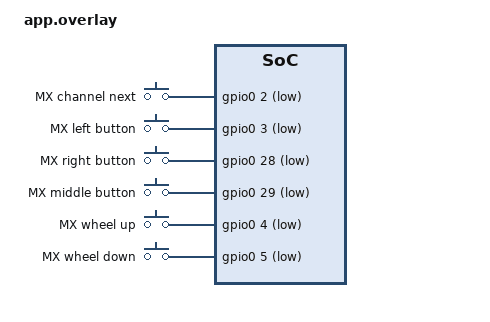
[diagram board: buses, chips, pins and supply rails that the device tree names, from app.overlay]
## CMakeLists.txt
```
cmake_minimum_required(VERSION 3.20.0)

find_package(Zephyr REQUIRED HINTS $ENV{ZEPHYR_BASE})
project(mx_master_three_channels)

target_sources(app PRIVATE
  src/main.c
  src/hog_mouse.c
)
```

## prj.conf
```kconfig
# Core
CONFIG_MAIN_STACK_SIZE=2048
CONFIG_SYSTEM_WORKQUEUE_STACK_SIZE=2048
CONFIG_PRINTK=y
CONFIG_GPIO=y

# Bluetooth peripheral HID mouse
CONFIG_BT=y
CONFIG_BT_PERIPHERAL=y
CONFIG_BT_SMP=y
CONFIG_BT_BONDABLE=y
CONFIG_BT_MAX_CONN=1
CONFIG_BT_ID_MAX=3
CONFIG_BT_MAX_PAIRED=9
CONFIG_BT_DEVICE_NAME="MX Master CH1"
CONFIG_BT_DEVICE_NAME_DYNAMIC=y
CONFIG_BT_DEVICE_NAME_MAX=24
CONFIG_BT_SMP_APP_PAIRING_ACCEPT=y
CONFIG_BT_SECURITY_ERR_TO_STR=y
CONFIG_BT_SMP_ERR_TO_STR=y

# Persist three identities, bonds, CCC subscriptions, IRKs, etc.
CONFIG_FLASH=y
CONFIG_FLASH_MAP=y
CONFIG_FLASH_PAGE_LAYOUT=y
CONFIG_NVS=y
CONFIG_SETTINGS=y
CONFIG_SETTINGS_NVS=y
CONFIG_BT_SETTINGS=y

# Optional interactive control: mx status/channel/next/move/click/unpair
CONFIG_SHELL=y
CONFIG_SHELL_BACKEND_SERIAL=y

# Keep diagnostics simple on small boards.
CONFIG_LOG=n
```

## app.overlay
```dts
/*
 * XIAO nRF52840 / nRF52840 Plus test wiring.
 * All buttons are active-low: connect the selected XIAO pin to GND.
 * Adjust the GPIO numbers here if your Plus board package maps D pins differently.
 */
/ {
	aliases {
		mx-next = &mx_next_button;
		mx-left = &mx_left_button;
		mx-right = &mx_right_button;
		mx-middle = &mx_middle_button;
		mx-wheel-up = &mx_wheel_up_button;
		mx-wheel-down = &mx_wheel_down_button;
	};

	mx_buttons: mx_buttons {
		compatible = "gpio-keys";

		mx_next_button: mx_next_button {
			label = "MX channel next";
			gpios = <&gpio0 2 (GPIO_PULL_UP | GPIO_ACTIVE_LOW)>;  /* XIAO D0 */
		};

		mx_left_button: mx_left_button {
			label = "MX left button";
			gpios = <&gpio0 3 (GPIO_PULL_UP | GPIO_ACTIVE_LOW)>;  /* XIAO D1 */
		};

		mx_right_button: mx_right_button {
			label = "MX right button";
			gpios = <&gpio0 28 (GPIO_PULL_UP | GPIO_ACTIVE_LOW)>; /* XIAO D2 */
		};

		mx_middle_button: mx_middle_button {
			label = "MX middle button";
			gpios = <&gpio0 29 (GPIO_PULL_UP | GPIO_ACTIVE_LOW)>; /* XIAO D3 */
		};

		mx_wheel_up_button: mx_wheel_up_button {
			label = "MX wheel up";
			gpios = <&gpio0 4 (GPIO_PULL_UP | GPIO_ACTIVE_LOW)>;  /* XIAO D4 */
		};

		mx_wheel_down_button: mx_wheel_down_button {
			label = "MX wheel down";
			gpios = <&gpio0 5 (GPIO_PULL_UP | GPIO_ACTIVE_LOW)>;  /* XIAO D5 */
		};
	};
};
```

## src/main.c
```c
#include <errno.h>
#include <stdbool.h>
#include <stddef.h>
#include <stdint.h>
#include <stdlib.h>
#include <string.h>

#include <zephyr/bluetooth/addr.h>
#include <zephyr/bluetooth/bluetooth.h>
#include <zephyr/bluetooth/conn.h>
#include <zephyr/bluetooth/hci.h>
#include <zephyr/bluetooth/uuid.h>
#include <zephyr/devicetree.h>
#include <zephyr/drivers/gpio.h>
#include <zephyr/kernel.h>
#include <zephyr/settings/settings.h>
#include <zephyr/shell/shell.h>
#include <zephyr/sys/atomic.h>
#include <zephyr/sys/printk.h>
#include <zephyr/sys/util.h>

#include "hog_mouse.h"

#define CHANNEL_COUNT 3U
#define INPUT_POLL_MS 12
#define RECONNECT_ADV_DELAY_MS 150

BUILD_ASSERT(CONFIG_BT_ID_MAX >= CHANNEL_COUNT,
	     "CONFIG_BT_ID_MAX must be at least 3 for three mouse channels");

struct mouse_channel {
	uint8_t id;
	const char *name;
};

static struct mouse_channel channels[CHANNEL_COUNT] = {
	{ .id = BT_ID_DEFAULT, .name = "MX Master CH1" },
	{ .id = BT_ID_DEFAULT, .name = "MX Master CH2" },
	{ .id = BT_ID_DEFAULT, .name = "MX Master CH3" },
};

static uint8_t active_channel;
static struct bt_conn *active_conn;
static uint8_t latched_buttons;

static K_MUTEX_DEFINE(state_lock);
static atomic_t bt_ready;

static void advertise_work_handler(struct k_work *work);
static K_WORK_DELAYABLE_DEFINE(advertise_work, advertise_work_handler);

static const struct bt_data ad[] = {
	BT_DATA_BYTES(BT_DATA_FLAGS, (BT_LE_AD_GENERAL | BT_LE_AD_NO_BREDR)),
	BT_DATA_BYTES(BT_DATA_UUID16_ALL, BT_UUID_16_ENCODE(BT_UUID_HIDS_VAL)),
	BT_DATA_BYTES(BT_DATA_GAP_APPEARANCE, 0xC2, 0x03), /* HID Mouse: 0x03c2 */
};

#define MX_NEXT_NODE DT_ALIAS(mx_next)
#if DT_NODE_HAS_STATUS_OKAY(MX_NEXT_NODE)
static const struct gpio_dt_spec mx_next_button = GPIO_DT_SPEC_GET(MX_NEXT_NODE, gpios);
#define HAS_MX_NEXT_BUTTON 1
#else
#define HAS_MX_NEXT_BUTTON 0
#endif

#define MX_LEFT_NODE DT_ALIAS(mx_left)
#if DT_NODE_HAS_STATUS_OKAY(MX_LEFT_NODE)
static const struct gpio_dt_spec mx_left_button = GPIO_DT_SPEC_GET(MX_LEFT_NODE, gpios);
#define HAS_MX_LEFT_BUTTON 1
#else
#define HAS_MX_LEFT_BUTTON 0
#endif

#define MX_RIGHT_NODE DT_ALIAS(mx_right)
#if DT_NODE_HAS_STATUS_OKAY(MX_RIGHT_NODE)
static const struct gpio_dt_spec mx_right_button = GPIO_DT_SPEC_GET(MX_RIGHT_NODE, gpios);
#define HAS_MX_RIGHT_BUTTON 1
#else
#define HAS_MX_RIGHT_BUTTON 0
#endif

#define MX_MIDDLE_NODE DT_ALIAS(mx_middle)
#if DT_NODE_HAS_STATUS_OKAY(MX_MIDDLE_NODE)
static const struct gpio_dt_spec mx_middle_button = GPIO_DT_SPEC_GET(MX_MIDDLE_NODE, gpios);
#define HAS_MX_MIDDLE_BUTTON 1
#else
#define HAS_MX_MIDDLE_BUTTON 0
#endif

#define MX_WHEEL_UP_NODE DT_ALIAS(mx_wheel_up)
#if DT_NODE_HAS_STATUS_OKAY(MX_WHEEL_UP_NODE)
static const struct gpio_dt_spec mx_wheel_up_button = GPIO_DT_SPEC_GET(MX_WHEEL_UP_NODE, gpios);
#define HAS_MX_WHEEL_UP_BUTTON 1
#else
#define HAS_MX_WHEEL_UP_BUTTON 0
#endif

#define MX_WHEEL_DOWN_NODE DT_ALIAS(mx_wheel_down)
#if DT_NODE_HAS_STATUS_OKAY(MX_WHEEL_DOWN_NODE)
static const struct gpio_dt_spec mx_wheel_down_button = GPIO_DT_SPEC_GET(MX_WHEEL_DOWN_NODE, gpios);
#define HAS_MX_WHEEL_DOWN_BUTTON 1
#else
#define HAS_MX_WHEEL_DOWN_BUTTON 0
#endif

static void schedule_advertising(k_timeout_t delay)
{
	if (atomic_get(&bt_ready)) {
		(void)k_work_schedule(&advertise_work, delay);
	}
}

static int channel_from_id(uint8_t id)
{
	for (uint8_t i = 0; i < CHANNEL_COUNT; i++) {
		if (channels[i].id == id) {
			return i;
		}
	}

	return -ENOENT;
}

static bool parse_channel_arg(const char *arg, uint8_t *channel)
{
	char *end = NULL;
	long value = strtol(arg, &end, 10);

	if (end == arg || *end != '\0' || value < 1 || value > CHANNEL_COUNT) {
		return false;
	}

	*channel = (uint8_t)(value - 1);
	return true;
}

static int8_t clamp_hid_axis(long value)
{
	if (value > INT8_MAX) {
		return INT8_MAX;
	}

	if (value < INT8_MIN) {
		return INT8_MIN;
	}

	return (int8_t)value;
}

static struct bt_conn *get_active_conn_ref(void)
{
	struct bt_conn *conn = NULL;

	k_mutex_lock(&state_lock, K_FOREVER);
	if (active_conn != NULL) {
		conn = bt_conn_ref(active_conn);
	}
	k_mutex_unlock(&state_lock);

	return conn;
}

static void send_mouse_report(uint8_t buttons, int8_t x, int8_t y,
			      int8_t wheel, int8_t pan)
{
	struct bt_conn *conn = get_active_conn_ref();

	if (conn == NULL) {
		return;
	}

	int err = hog_mouse_send(conn, buttons, x, y, wheel, pan);

	if (err != 0 && err != -ENOTCONN && err != -EACCES && err != -EINVAL) {
		printk("HID notify failed: %d\n", err);
	}

	bt_conn_unref(conn);
}

static void disconnect_active_conn(uint8_t reason)
{
	struct bt_conn *conn = get_active_conn_ref();

	if (conn == NULL) {
		return;
	}

	int err = bt_conn_disconnect(conn, reason);

	if (err != 0 && err != -ENOTCONN) {
		printk("Disconnect failed: %d\n", err);
	}

	bt_conn_unref(conn);
}

static int select_channel(uint8_t channel)
{
	if (channel >= CHANNEL_COUNT) {
		return -EINVAL;
	}

	uint8_t old_channel;
	bool changed;
	bool had_connection;

	k_mutex_lock(&state_lock, K_FOREVER);
	old_channel = active_channel;
	changed = (active_channel != channel);
	active_channel = channel;
	had_connection = (active_conn != NULL);
	k_mutex_unlock(&state_lock);

	if (!changed) {
		printk("Already on channel %u (%s)\n", channel + 1,
		       channels[channel].name);
		return 0;
	}

	printk("Switch channel %u -> %u (%s)\n", old_channel + 1,
	       channel + 1, channels[channel].name);

	latched_buttons = 0;
	hog_mouse_release_local_state();
	(void)bt_le_adv_stop();

	if (had_connection) {
		disconnect_active_conn(BT_HCI_ERR_REMOTE_USER_TERM_CONN);
	} else {
		schedule_advertising(K_NO_WAIT);
	}

	return 0;
}

static int select_next_channel(void)
{
	uint8_t next;

	k_mutex_lock(&state_lock, K_FOREVER);
	next = (active_channel + 1U) % CHANNEL_COUNT;
	k_mutex_unlock(&state_lock);

	return select_channel(next);
}

static void advertise_work_handler(struct k_work *work)
{
	ARG_UNUSED(work);

	if (!atomic_get(&bt_ready)) {
		return;
	}

	uint8_t channel;
	uint8_t id;
	const char *name;
	bool connected;

	k_mutex_lock(&state_lock, K_FOREVER);
	channel = active_channel;
	id = channels[channel].id;
	name = channels[channel].name;
	connected = (active_conn != NULL);
	k_mutex_unlock(&state_lock);

	if (connected) {
		return;
	}

	(void)bt_le_adv_stop();

	int err = bt_set_name(name);

	if (err != 0) {
		printk("bt_set_name(%s) failed: %d\n", name, err);
	}

	struct bt_le_adv_param adv_param = BT_LE_ADV_PARAM_INIT(
		BT_LE_ADV_OPT_CONN | BT_LE_ADV_OPT_USE_IDENTITY,
		BT_GAP_ADV_FAST_INT_MIN_2,
		BT_GAP_ADV_FAST_INT_MAX_2,
		NULL);
	adv_param.id = id;

	struct bt_data sd[] = {
		BT_DATA(BT_DATA_NAME_COMPLETE, name, strlen(name)),
	};

	err = bt_le_adv_start(&adv_param, ad, ARRAY_SIZE(ad), sd, ARRAY_SIZE(sd));
	if (err != 0) {
		printk("Advertising channel %u failed: %d\n", channel + 1, err);
		schedule_advertising(K_MSEC(1000));
		return;
	}

	printk("Advertising %s on BLE identity %u\n", name, id);
}

static int ensure_three_identities(void)
{
	bt_addr_le_t addrs[CONFIG_BT_ID_MAX];
	size_t count = ARRAY_SIZE(addrs);
	int err;

	channels[0].id = BT_ID_DEFAULT;
	bt_id_get(addrs, &count);

	for (uint8_t i = 1; i < CHANNEL_COUNT; i++) {
		if (i < count) {
			channels[i].id = i;
			continue;
		}

		err = bt_id_create(NULL, NULL);
		if (err < 0) {
			printk("bt_id_create for channel %u failed: %d\n", i + 1, err);
			return err;
		}

		channels[i].id = (uint8_t)err;
	}

	count = ARRAY_SIZE(addrs);
	bt_id_get(addrs, &count);
	printk("Bluetooth identities: %u\n", (unsigned int)count);

	for (uint8_t i = 0; i < CHANNEL_COUNT; i++) {
		char addr[BT_ADDR_LE_STR_LEN];

		if (channels[i].id < count) {
			bt_addr_le_to_str(&addrs[channels[i].id], addr, sizeof(addr));
		} else {
			strcpy(addr, "unknown");
		}

		printk("  CH%u name='%s' id=%u addr=%s\n", i + 1,
		       channels[i].name, channels[i].id, addr);
	}

	return 0;
}

static void connected(struct bt_conn *conn, uint8_t err)
{
	if (err != 0) {
		printk("Connection failed: %u\n", err);
		schedule_advertising(K_MSEC(500));
		return;
	}

	struct bt_conn_info info;
	uint8_t conn_id = BT_ID_DEFAULT;
	int channel = -1;

	if (bt_conn_get_info(conn, &info) == 0) {
		conn_id = info.id;
		channel = channel_from_id(conn_id);
	}

	k_mutex_lock(&state_lock, K_FOREVER);
	bool accept = (channel >= 0 && (uint8_t)channel == active_channel && active_conn == NULL);
	if (accept) {
		active_conn = bt_conn_ref(conn);
	}
	k_mutex_unlock(&state_lock);

	if (!accept) {
		printk("Reject connection on identity %u while active channel is %u\n",
		       conn_id, active_channel + 1);
		(void)bt_conn_disconnect(conn, BT_HCI_ERR_REMOTE_USER_TERM_CONN);
		return;
	}

	printk("Connected on CH%u (%s)\n", channel + 1, channels[channel].name);

	err = bt_conn_set_security(conn, BT_SECURITY_L2);
	if (err != 0 && err != -EALREADY) {
		printk("Security request failed: %d\n", err);
	}
}

static void disconnected(struct bt_conn *conn, uint8_t reason)
{
	bool was_active = false;

	k_mutex_lock(&state_lock, K_FOREVER);
	if (active_conn == conn) {
		bt_conn_unref(active_conn);
		active_conn = NULL;
		was_active = true;
	}
	k_mutex_unlock(&state_lock);

	if (was_active) {
		latched_buttons = 0;
		hog_mouse_release_local_state();
		printk("Disconnected, reason 0x%02x\n", reason);
	}
}

static void recycled(void)
{
	schedule_advertising(K_MSEC(RECONNECT_ADV_DELAY_MS));
}

static const char *security_err_name(enum bt_security_err err)
{
	const char *name = bt_security_err_to_str(err);

	return (name != NULL && name[0] != '\0') ? name : "unknown";
}

static void security_changed(struct bt_conn *conn, bt_security_t level,
			     enum bt_security_err err)
{
	ARG_UNUSED(conn);

	if (err == BT_SECURITY_ERR_SUCCESS) {
		printk("Security level %u\n", level);
	} else {
		printk("Security failed: level %u err %u (%s)\n", level, err,
		       security_err_name(err));
	}
}

BT_CONN_CB_DEFINE(conn_callbacks) = {
	.connected = connected,
	.disconnected = disconnected,
	.recycled = recycled,
	.security_changed = security_changed,
};

static void pairing_complete(struct bt_conn *conn, bool bonded)
{
	ARG_UNUSED(conn);
	printk("Pairing complete, bonded=%u\n", bonded);
}

static void pairing_failed(struct bt_conn *conn, enum bt_security_err reason)
{
	ARG_UNUSED(conn);
	printk("Pairing failed, reason=%u (%s)\n", reason,
	       security_err_name(reason));
}

#if IS_ENABLED(CONFIG_BT_SMP_APP_PAIRING_ACCEPT)
static enum bt_security_err pairing_accept(struct bt_conn *conn,
					   const struct bt_conn_pairing_feat *const feat)
{
	struct bt_conn_info info;
	uint8_t conn_id = BT_ID_DEFAULT;
	int channel = -1;

	if (bt_conn_get_info(conn, &info) == 0) {
		conn_id = info.id;
		channel = channel_from_id(conn_id);
	}

	printk("Pairing request on CH%d id=%u: io=%u oob=%u auth=0x%02x key_size=%u init_key=0x%02x resp_key=0x%02x\n",
	       channel >= 0 ? channel + 1 : 0, conn_id,
	       feat->io_capability, feat->oob_data_flag, feat->auth_req,
	       feat->max_enc_key_size, feat->init_key_dist, feat->resp_key_dist);

	return BT_SECURITY_ERR_SUCCESS;
}
#endif

static struct bt_conn_auth_cb auth_callbacks = {
#if IS_ENABLED(CONFIG_BT_SMP_APP_PAIRING_ACCEPT)
	.pairing_accept = pairing_accept,
#endif
};

static struct bt_conn_auth_info_cb auth_info_callbacks = {
	.pairing_complete = pairing_complete,
	.pairing_failed = pairing_failed,
};

static int configure_gpio_button(const struct gpio_dt_spec *button,
				 const char *name)
{
	if (!gpio_is_ready_dt(button)) {
		printk("GPIO for %s is not ready\n", name);
		return -ENODEV;
	}

	int err = gpio_pin_configure_dt(button, GPIO_INPUT);
	if (err != 0) {
		printk("GPIO configure failed for %s: %d\n", name, err);
		return err;
	}

	return 0;
}

static bool read_gpio_button(const struct gpio_dt_spec *button)
{
	int value = gpio_pin_get_dt(button);

	return value > 0;
}

static void configure_inputs(void)
{
#if HAS_MX_NEXT_BUTTON
	(void)configure_gpio_button(&mx_next_button, "mx-next");
#endif
#if HAS_MX_LEFT_BUTTON
	(void)configure_gpio_button(&mx_left_button, "mx-left");
#endif
#if HAS_MX_RIGHT_BUTTON
	(void)configure_gpio_button(&mx_right_button, "mx-right");
#endif
#if HAS_MX_MIDDLE_BUTTON
	(void)configure_gpio_button(&mx_middle_button, "mx-middle");
#endif
#if HAS_MX_WHEEL_UP_BUTTON
	(void)configure_gpio_button(&mx_wheel_up_button, "mx-wheel-up");
#endif
#if HAS_MX_WHEEL_DOWN_BUTTON
	(void)configure_gpio_button(&mx_wheel_down_button, "mx-wheel-down");
#endif
}

static void poll_inputs_forever(void)
{
	bool next_was_pressed = false;
	bool wheel_up_was_pressed = false;
	bool wheel_down_was_pressed = false;

	while (true) {
		uint8_t buttons = 0;
		bool pressed;

#if HAS_MX_NEXT_BUTTON
		pressed = read_gpio_button(&mx_next_button);
		if (pressed && !next_was_pressed) {
			(void)select_next_channel();
		}
		next_was_pressed = pressed;
#endif

#if HAS_MX_LEFT_BUTTON
		if (read_gpio_button(&mx_left_button)) {
			buttons |= HOG_MOUSE_BTN_LEFT;
		}
#endif
#if HAS_MX_RIGHT_BUTTON
		if (read_gpio_button(&mx_right_button)) {
			buttons |= HOG_MOUSE_BTN_RIGHT;
		}
#endif
#if HAS_MX_MIDDLE_BUTTON
		if (read_gpio_button(&mx_middle_button)) {
			buttons |= HOG_MOUSE_BTN_MIDDLE;
		}
#endif

		if (buttons != latched_buttons) {
			latched_buttons = buttons;
			send_mouse_report(latched_buttons, 0, 0, 0, 0);
		}

#if HAS_MX_WHEEL_UP_BUTTON
		pressed = read_gpio_button(&mx_wheel_up_button);
		if (pressed && !wheel_up_was_pressed) {
			send_mouse_report(latched_buttons, 0, 0, 1, 0);
		}
		wheel_up_was_pressed = pressed;
#endif
#if HAS_MX_WHEEL_DOWN_BUTTON
		pressed = read_gpio_button(&mx_wheel_down_button);
		if (pressed && !wheel_down_was_pressed) {
			send_mouse_report(latched_buttons, 0, 0, -1, 0);
		}
		wheel_down_was_pressed = pressed;
#endif

		k_sleep(K_MSEC(INPUT_POLL_MS));
	}
}

#if IS_ENABLED(CONFIG_SHELL)
static int cmd_status(const struct shell *sh, size_t argc, char **argv)
{
	ARG_UNUSED(argc);
	ARG_UNUSED(argv);

	k_mutex_lock(&state_lock, K_FOREVER);
	uint8_t channel = active_channel;
	bool connected = (active_conn != NULL);
	k_mutex_unlock(&state_lock);

	shell_print(sh, "active: CH%u %s", channel + 1, channels[channel].name);
	shell_print(sh, "connected: %s", connected ? "yes" : "no");
	for (uint8_t i = 0; i < CHANNEL_COUNT; i++) {
		shell_print(sh, "CH%u: id=%u name=%s", i + 1,
			    channels[i].id, channels[i].name);
	}

	return 0;
}

static int cmd_channel(const struct shell *sh, size_t argc, char **argv)
{
	ARG_UNUSED(argc);

	uint8_t channel;
	if (!parse_channel_arg(argv[1], &channel)) {
		shell_error(sh, "usage: mx channel <1|2|3>");
		return -EINVAL;
	}

	return select_channel(channel);
}

static int cmd_next(const struct shell *sh, size_t argc, char **argv)
{
	ARG_UNUSED(sh);
	ARG_UNUSED(argc);
	ARG_UNUSED(argv);

	return select_next_channel();
}

static int cmd_move(const struct shell *sh, size_t argc, char **argv)
{
	if (argc < 3) {
		shell_error(sh, "usage: mx move <dx> <dy> [wheel] [pan] [buttons]");
		return -EINVAL;
	}

	long dx = strtol(argv[1], NULL, 0);
	long dy = strtol(argv[2], NULL, 0);
	long wheel = (argc > 3) ? strtol(argv[3], NULL, 0) : 0;
	long pan = (argc > 4) ? strtol(argv[4], NULL, 0) : 0;
	long buttons = (argc > 5) ? strtol(argv[5], NULL, 0) : latched_buttons;

	latched_buttons = (uint8_t)buttons & 0x1f;
	send_mouse_report(latched_buttons, clamp_hid_axis(dx), clamp_hid_axis(dy),
			  clamp_hid_axis(wheel), clamp_hid_axis(pan));

	return 0;
}

static uint8_t button_mask_from_name(const char *name)
{
	if (strcmp(name, "left") == 0) {
		return HOG_MOUSE_BTN_LEFT;
	}
	if (strcmp(name, "right") == 0) {
		return HOG_MOUSE_BTN_RIGHT;
	}
	if (strcmp(name, "middle") == 0) {
		return HOG_MOUSE_BTN_MIDDLE;
	}
	if (strcmp(name, "back") == 0) {
		return HOG_MOUSE_BTN_BACK;
	}
	if (strcmp(name, "forward") == 0) {
		return HOG_MOUSE_BTN_FORWARD;
	}

	return 0;
}

static int cmd_click(const struct shell *sh, size_t argc, char **argv)
{
	ARG_UNUSED(argc);

	uint8_t mask = button_mask_from_name(argv[1]);
	if (mask == 0) {
		shell_error(sh, "usage: mx click <left|right|middle|back|forward>");
		return -EINVAL;
	}

	latched_buttons |= mask;
	send_mouse_report(latched_buttons, 0, 0, 0, 0);
	k_sleep(K_MSEC(35));
	latched_buttons &= ~mask;
	send_mouse_report(latched_buttons, 0, 0, 0, 0);

	return 0;
}

static int unpair_one(uint8_t channel)
{
	int err = bt_unpair(channels[channel].id, NULL);
	if (err != 0) {
		printk("Unpair CH%u failed: %d\n", channel + 1, err);
		return err;
	}

	printk("Unpaired CH%u (%s)\n", channel + 1, channels[channel].name);
	return 0;
}

static int cmd_unpair(const struct shell *sh, size_t argc, char **argv)
{
	ARG_UNUSED(argc);

	if (strcmp(argv[1], "all") == 0) {
		int first_err = 0;

		disconnect_active_conn(BT_HCI_ERR_REMOTE_USER_TERM_CONN);
		for (uint8_t i = 0; i < CHANNEL_COUNT; i++) {
			int err = unpair_one(i);
			if (err != 0 && first_err == 0) {
				first_err = err;
			}
		}
		schedule_advertising(K_MSEC(RECONNECT_ADV_DELAY_MS));
		return first_err;
	}

	uint8_t channel;
	if (!parse_channel_arg(argv[1], &channel)) {
		shell_error(sh, "usage: mx unpair <1|2|3|all>");
		return -EINVAL;
	}

	disconnect_active_conn(BT_HCI_ERR_REMOTE_USER_TERM_CONN);
	int err = unpair_one(channel);
	schedule_advertising(K_MSEC(RECONNECT_ADV_DELAY_MS));
	return err;
}

SHELL_STATIC_SUBCMD_SET_CREATE(mx_subcmds,
	SHELL_CMD(status, NULL, "Show active channel and connection state.", cmd_status),
	SHELL_CMD_ARG(channel, NULL, "Select channel: mx channel <1|2|3>.", cmd_channel, 2, 0),
	SHELL_CMD(next, NULL, "Switch to the next channel.", cmd_next),
	SHELL_CMD_ARG(move, NULL, "Send movement: mx move <dx> <dy> [wheel] [pan] [buttons].", cmd_move, 3, 3),
	SHELL_CMD_ARG(click, NULL, "Click: mx click <left|right|middle|back|forward>.", cmd_click, 2, 0),
	SHELL_CMD_ARG(unpair, NULL, "Clear bonds: mx unpair <1|2|3|all>.", cmd_unpair, 2, 0),
	SHELL_SUBCMD_SET_END
);
SHELL_CMD_REGISTER(mx, &mx_subcmds, "Three-channel BLE HID mouse controls.", NULL);
#endif /* CONFIG_SHELL */

int main(void)
{
	int err;

	printk("MX Master-style three-channel BLE HID mouse\n");

	hog_mouse_init();
	configure_inputs();

	err = bt_conn_auth_cb_register(&auth_callbacks);
	if (err != 0) {
		printk("Auth callback register failed: %d\n", err);
	}

	err = bt_conn_auth_info_cb_register(&auth_info_callbacks);
	if (err != 0) {
		printk("Auth info callback register failed: %d\n", err);
	}

	err = bt_enable(NULL);
	if (err != 0) {
		printk("Bluetooth init failed: %d\n", err);
		return 0;
	}

	printk("Bluetooth initialized\n");

	if (IS_ENABLED(CONFIG_SETTINGS)) {
		err = settings_load();
		if (err != 0) {
			printk("settings_load failed: %d\n", err);
		}
	}

	err = ensure_three_identities();
	if (err != 0) {
		printk("Cannot create three BLE identities: %d\n", err);
		return 0;
	}

	atomic_set(&bt_ready, 1);
	schedule_advertising(K_NO_WAIT);

	poll_inputs_forever();
	return 0;
}
```

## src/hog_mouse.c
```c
#include "hog_mouse.h"

#include <errno.h>
#include <stddef.h>
#include <string.h>

#include <zephyr/bluetooth/att.h>
#include <zephyr/bluetooth/gatt.h>
#include <zephyr/bluetooth/uuid.h>
#include <zephyr/kernel.h>
#include <zephyr/sys/atomic.h>
#include <zephyr/sys/util.h>

/* One report characteristic, no Report ID in the payload:
 *   byte 0: buttons bit0..bit4 = left/right/middle/back/forward
 *   byte 1: X relative movement
 *   byte 2: Y relative movement
 *   byte 3: vertical wheel
 *   byte 4: horizontal pan
 */
#define HOG_MOUSE_REPORT_SIZE 5
#define HOG_INPUT_REPORT_VALUE_ATTR 6

static atomic_t ccc_enabled;
static uint8_t input_report[HOG_MOUSE_REPORT_SIZE];

static const uint8_t hids_info[] = {
	0x11, 0x01, /* HID Class Specification release 1.11 */
	0x00,       /* Country code: not localized */
	0x03,       /* Remote wake + normally connectable */
};

static const uint8_t report_map[] = {
	0x05, 0x01,       /* Usage Page (Generic Desktop) */
	0x09, 0x02,       /* Usage (Mouse) */
	0xA1, 0x01,       /* Collection (Application) */
	0x09, 0x01,       /*   Usage (Pointer) */
	0xA1, 0x00,       /*   Collection (Physical) */

	0x05, 0x09,       /*     Usage Page (Button) */
	0x19, 0x01,       /*     Usage Minimum (Button 1) */
	0x29, 0x05,       /*     Usage Maximum (Button 5) */
	0x15, 0x00,       /*     Logical Minimum (0) */
	0x25, 0x01,       /*     Logical Maximum (1) */
	0x95, 0x05,       /*     Report Count (5) */
	0x75, 0x01,       /*     Report Size (1) */
	0x81, 0x02,       /*     Input (Data, Variable, Absolute) */
	0x95, 0x01,       /*     Report Count (1) */
	0x75, 0x03,       /*     Report Size (3) */
	0x81, 0x03,       /*     Input (Constant, Variable, Absolute) */

	0x05, 0x01,       /*     Usage Page (Generic Desktop) */
	0x09, 0x30,       /*     Usage (X) */
	0x09, 0x31,       /*     Usage (Y) */
	0x09, 0x38,       /*     Usage (Wheel) */
	0x15, 0x81,       /*     Logical Minimum (-127) */
	0x25, 0x7F,       /*     Logical Maximum (127) */
	0x75, 0x08,       /*     Report Size (8) */
	0x95, 0x03,       /*     Report Count (3) */
	0x81, 0x06,       /*     Input (Data, Variable, Relative) */

	0x05, 0x0C,       /*     Usage Page (Consumer) */
	0x0A, 0x38, 0x02, /*     Usage (AC Pan) */
	0x15, 0x81,       /*     Logical Minimum (-127) */
	0x25, 0x7F,       /*     Logical Maximum (127) */
	0x75, 0x08,       /*     Report Size (8) */
	0x95, 0x01,       /*     Report Count (1) */
	0x81, 0x06,       /*     Input (Data, Variable, Relative) */

	0xC0,             /*   End Collection */
	0xC0,             /* End Collection */
};

static const uint8_t report_ref[] = {
	0x00, /* Report ID: none */
	0x01, /* Report type: input */
};

static ssize_t read_hids_info(struct bt_conn *conn,
			      const struct bt_gatt_attr *attr,
			      void *buf, uint16_t len, uint16_t offset)
{
	return bt_gatt_attr_read(conn, attr, buf, len, offset,
				     hids_info, sizeof(hids_info));
}

static ssize_t read_report_map(struct bt_conn *conn,
			       const struct bt_gatt_attr *attr,
			       void *buf, uint16_t len, uint16_t offset)
{
	return bt_gatt_attr_read(conn, attr, buf, len, offset,
				     report_map, sizeof(report_map));
}

static ssize_t read_input_report(struct bt_conn *conn,
				 const struct bt_gatt_attr *attr,
				 void *buf, uint16_t len, uint16_t offset)
{
	return bt_gatt_attr_read(conn, attr, buf, len, offset,
				     input_report, sizeof(input_report));
}

static ssize_t read_report_ref(struct bt_conn *conn,
			       const struct bt_gatt_attr *attr,
			       void *buf, uint16_t len, uint16_t offset)
{
	return bt_gatt_attr_read(conn, attr, buf, len, offset,
				     report_ref, sizeof(report_ref));
}

static ssize_t write_ctrl_point(struct bt_conn *conn,
				const struct bt_gatt_attr *attr,
				const void *buf, uint16_t len,
				uint16_t offset, uint8_t flags)
{
	ARG_UNUSED(conn);
	ARG_UNUSED(attr);
	ARG_UNUSED(buf);
	ARG_UNUSED(flags);

	if (offset != 0U || len != 1U) {
		return BT_GATT_ERR(BT_ATT_ERR_INVALID_ATTRIBUTE_LEN);
	}

	return len;
}

static void input_ccc_changed(const struct bt_gatt_attr *attr, uint16_t value)
{
	ARG_UNUSED(attr);
	atomic_set(&ccc_enabled, value == BT_GATT_CCC_NOTIFY);
}

BT_GATT_SERVICE_DEFINE(hog_mouse_svc,
	BT_GATT_PRIMARY_SERVICE(BT_UUID_HIDS),
	BT_GATT_CHARACTERISTIC(BT_UUID_HIDS_INFO,
			       BT_GATT_CHRC_READ,
			       BT_GATT_PERM_READ_ENCRYPT,
			       read_hids_info, NULL, NULL),
	BT_GATT_CHARACTERISTIC(BT_UUID_HIDS_REPORT_MAP,
			       BT_GATT_CHRC_READ,
			       BT_GATT_PERM_READ_ENCRYPT,
			       read_report_map, NULL, NULL),
	BT_GATT_CHARACTERISTIC(BT_UUID_HIDS_REPORT,
			       BT_GATT_CHRC_READ | BT_GATT_CHRC_NOTIFY,
			       BT_GATT_PERM_READ_ENCRYPT,
			       read_input_report, NULL, input_report),
	BT_GATT_CCC(input_ccc_changed,
		    BT_GATT_PERM_READ_ENCRYPT | BT_GATT_PERM_WRITE_ENCRYPT),
	BT_GATT_DESCRIPTOR(BT_UUID_HIDS_REPORT_REF,
			   BT_GATT_PERM_READ_ENCRYPT,
			   read_report_ref, NULL, NULL),
	BT_GATT_CHARACTERISTIC(BT_UUID_HIDS_CTRL_POINT,
			       BT_GATT_CHRC_WRITE_WITHOUT_RESP,
			       BT_GATT_PERM_WRITE_ENCRYPT,
			       NULL, write_ctrl_point, NULL)
);

int hog_mouse_init(void)
{
	memset(input_report, 0, sizeof(input_report));
	atomic_clear(&ccc_enabled);
	return 0;
}

int hog_mouse_send(struct bt_conn *conn, uint8_t buttons,
		   int8_t x, int8_t y, int8_t wheel, int8_t pan)
{
	if (conn == NULL) {
		return -ENOTCONN;
	}

	input_report[0] = buttons & 0x1f;
	input_report[1] = (uint8_t)x;
	input_report[2] = (uint8_t)y;
	input_report[3] = (uint8_t)wheel;
	input_report[4] = (uint8_t)pan;

	return bt_gatt_notify(conn, &hog_mouse_svc.attrs[HOG_INPUT_REPORT_VALUE_ATTR],
			      input_report, sizeof(input_report));
}

void hog_mouse_release_local_state(void)
{
	memset(input_report, 0, sizeof(input_report));
}
```

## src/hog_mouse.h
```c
#ifndef HOG_MOUSE_H_
#define HOG_MOUSE_H_

#include <stdint.h>

#include <zephyr/bluetooth/conn.h>
#include <zephyr/sys/util.h>

#define HOG_MOUSE_BTN_LEFT    BIT(0)
#define HOG_MOUSE_BTN_RIGHT   BIT(1)
#define HOG_MOUSE_BTN_MIDDLE  BIT(2)
#define HOG_MOUSE_BTN_BACK    BIT(3)
#define HOG_MOUSE_BTN_FORWARD BIT(4)

int hog_mouse_init(void);
int hog_mouse_send(struct bt_conn *conn, uint8_t buttons,
		   int8_t x, int8_t y, int8_t wheel, int8_t pan);
void hog_mouse_release_local_state(void);

#endif /* HOG_MOUSE_H_ */
```
